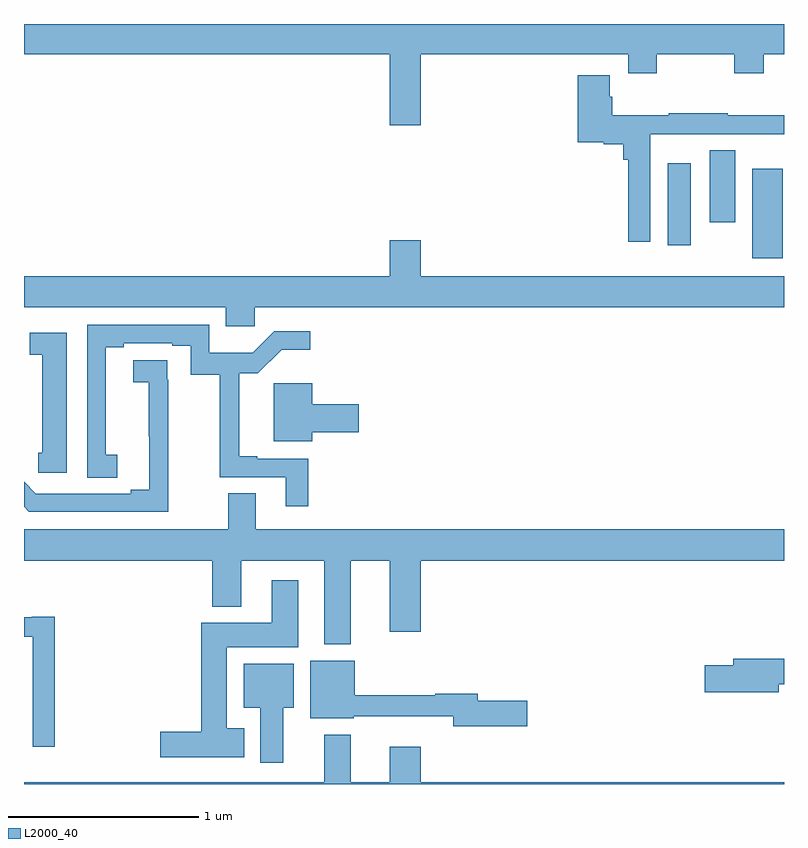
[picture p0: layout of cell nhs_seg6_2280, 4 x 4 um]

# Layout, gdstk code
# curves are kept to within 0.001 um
import gdstk
lib = gdstk.Library(unit=1e-6, precision=1e-09)
def R(c, l, rs):  # rectangles x0, y0, x1, y1
    for r in rs: c.add(gdstk.rectangle(r[:2], r[2:], *l))
def P(c, l, *ps):  # polygons
    for p in ps: c.add(gdstk.Polygon(p, *l))
L2000_40 = (2000, 40)

nhs_seg6_2280 = lib.new_cell('nhs_seg6_2280')
R(nhs_seg6_2280, L2000_40, [(250.832,942.267,250.993,942.739), (250.388,942.336,250.51,942.766), (250.61,942.456,250.744,942.836)])
P(nhs_seg6_2280, L2000_40, [(249.088,943.34),(250.181,943.34),(250.181,943.241),(250.329,943.241),(250.329,943.34),(250.738,943.34),(250.738,943.241),(250.893,943.241),(250.893,943.34),(251,943.34),(251,943.5),(247,943.5),(247,943.34),(248.924,943.34),(248.924,942.966),(249.088,942.966)],
  [(250.296,942.92),(250.506,942.92),(250.506,942.921),(250.84,942.921),(250.84,942.92),(251,942.92),(251,943.02),(250.703,943.02),(250.703,943.03),(250.393,943.03),(250.393,943.02),(250.097,943.02),(250.097,943.116),(250.084,943.116),(250.084,943.231),(249.914,943.231),(249.914,942.878),(250.05,942.878),(250.05,942.866),(250.154,942.866),(250.154,942.785),(250.18,942.785),(250.18,942.354),(250.296,942.354)],
  [(248.215,942.008),(251,942.008),(251,942.172),(249.088,942.172),(249.088,942.361),(248.924,942.361),(248.924,942.172),(247,942.172),(247,942.008),(248.063,942.008),(248.063,941.91),(248.215,941.91)],
  [(248.495,941.211),(248.227,941.211),(248.227,941.224),(248.132,941.224),(248.132,941.661),(248.231,941.661),(248.357,941.786),(248.506,941.786),(248.506,941.883),(248.316,941.883),(248.203,941.77),(247.974,941.77),(247.974,941.916),(247.332,941.916),(247.332,941.113),(247.492,941.113),(247.492,941.233),(247.431,941.233),(247.431,941.537),(247.429,941.537),(247.429,941.8),(247.525,941.8),(247.525,941.82),(247.781,941.82),(247.781,941.806),(247.878,941.806),(247.878,941.653),(248.029,941.653),(248.029,941.115),(248.378,941.115),(248.378,940.962),(248.495,940.962)],
  [(247.225,941.875),(247.029,941.875),(247.029,941.76),(247.097,941.76),(247.097,941.244),(247.075,941.244),(247.075,941.139),(247.225,941.139)],
  [(247.76,941.627),(247.754,941.627),(247.754,941.729),(247.575,941.729),(247.575,941.614),(247.657,941.614),(247.658,941.048),(247.562,941.048),(247.562,941.028),(247.062,941.028),(247,941.09),(247,940.958),(247.026,940.932),(247.76,940.932)],
  [(248.518,941.351),(248.761,941.351),(248.761,941.498),(248.518,941.498),(248.518,941.608),(248.315,941.608),(248.315,941.303),(248.518,941.303)],
  [(248.221,941.03),(248.074,941.03),(248.074,940.84),(247,940.84),(247,940.676),(247.991,940.676),(247.991,940.433),(248.143,940.433),(248.143,940.676),(248.579,940.676),(248.579,940.235),(248.719,940.235),(248.719,940.676),(248.924,940.676),(248.924,940.302),(249.088,940.302),(249.088,940.676),(251,940.676),(251,940.84),(248.221,940.84)],
  [(248.158,939.793),(248.068,939.793),(248.068,940.22),(248.443,940.22),(248.443,940.573),(248.303,940.573),(248.303,940.348),(247.934,940.348),(247.934,939.776),(247.716,939.776),(247.716,939.641),(248.158,939.641)],
  [(247.163,940.381),(247.04,940.381),(247.04,940.378),(247,940.378),(247,940.274),(247.047,940.274),(247.047,939.696),(247.163,939.696)],
  [(250.972,940.024),(251,940.024),(251,940.16),(250.733,940.16),(250.733,940.124),(250.584,940.124),(250.584,939.982),(250.972,939.982)],
  [(249.649,939.938),(249.388,939.938),(249.388,939.974),(249.164,939.974),(249.164,939.967),(248.74,939.967),(248.74,940.15),(248.507,940.15),(248.507,939.845),(248.736,939.845),(248.736,939.857),(249.26,939.857),(249.26,939.803),(249.649,939.803)],
  [(248.365,939.902),(248.419,939.902),(248.419,940.132),(248.156,940.132),(248.156,939.902),(248.243,939.902),(248.243,939.612),(248.365,939.612)],
  [(251,939.508),(249.088,939.508),(249.088,939.697),(248.924,939.697),(248.924,939.508),(248.719,939.508),(248.719,939.76),(248.579,939.76),(248.579,939.508),(247,939.508),(247,939.5),(251,939.5)])

lib.write_gds('nhs_seg6_2280.gds')
